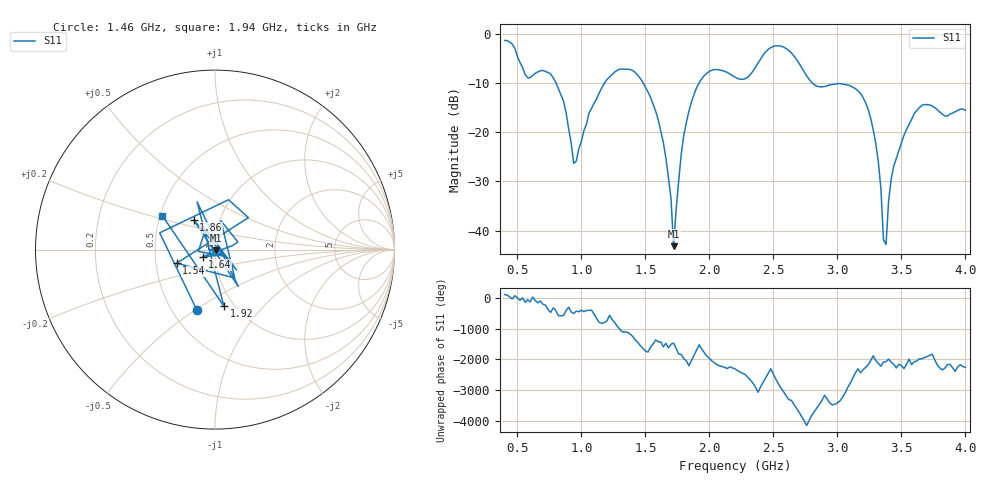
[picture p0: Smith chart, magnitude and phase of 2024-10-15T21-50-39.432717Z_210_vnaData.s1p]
! Created with skrf (http://scikit-rf.org).
# Hz S RI R 50.0
!freq ReS11 ImS11
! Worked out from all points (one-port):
!   181 points, 400 MHz to 4 GHz, reference 50 ohm
!   lowest |S11| = -43.2 dB at 1.72 GHz (marker M1), VSWR 1.01, Z = 50.6 - j0.321 ohm
!   |S11| at or under -10 dB: 802.3 MHz to 1.18 GHz (377.3 MHz wide, 38.1 % of centre); 1.483 GHz to 1.918 GHz (435.2 MHz wide, 25.6 % of centre); 2.805 GHz to end of sweep
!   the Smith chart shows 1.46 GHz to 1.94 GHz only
!   S11 on the Smith chart (normalised r, x): 1.46 GHz: 0.66, -0.51; 1.54 GHz: 0.64, -0.10; 1.64 GHz: 0.87, -0.07; 1.86 GHz: 0.75, +0.26; 1.92 GHz: 0.90, -0.63; 1.94 GHz: 0.51, +0.22
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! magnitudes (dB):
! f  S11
! 400 MHz  -1.3
! 860 MHz  -13.6
! 940 MHz  -26.3
! 1.06 GHz  -16.1
! 1.3 GHz  -7.1
! 1.46 GHz  -9.0
! 1.54 GHz  -12.9
! 1.64 GHz  -22.0
! 1.7 GHz  -33.5
! 1.72 GHz  -43.2
! 1.76 GHz  -29.9
! 1.8 GHz  -20.6
! 1.86 GHz  -13.8
! 1.92 GHz  -9.9
! 1.94 GHz  -9.1
! 2.2 GHz  -8.8
! 2.5 GHz  -2.5
! 2.66 GHz  -4.5
! 2.84 GHz  -10.6
! 3.1 GHz  -10.5
! 3.26 GHz  -17.2
! 3.32 GHz  -26.1
! 3.36 GHz  -41.9
! 3.38 GHz  -42.8
! 3.42 GHz  -29.5
! 3.56 GHz  -18.4
! 3.68 GHz  -14.4
! 4 GHz  -15.5
